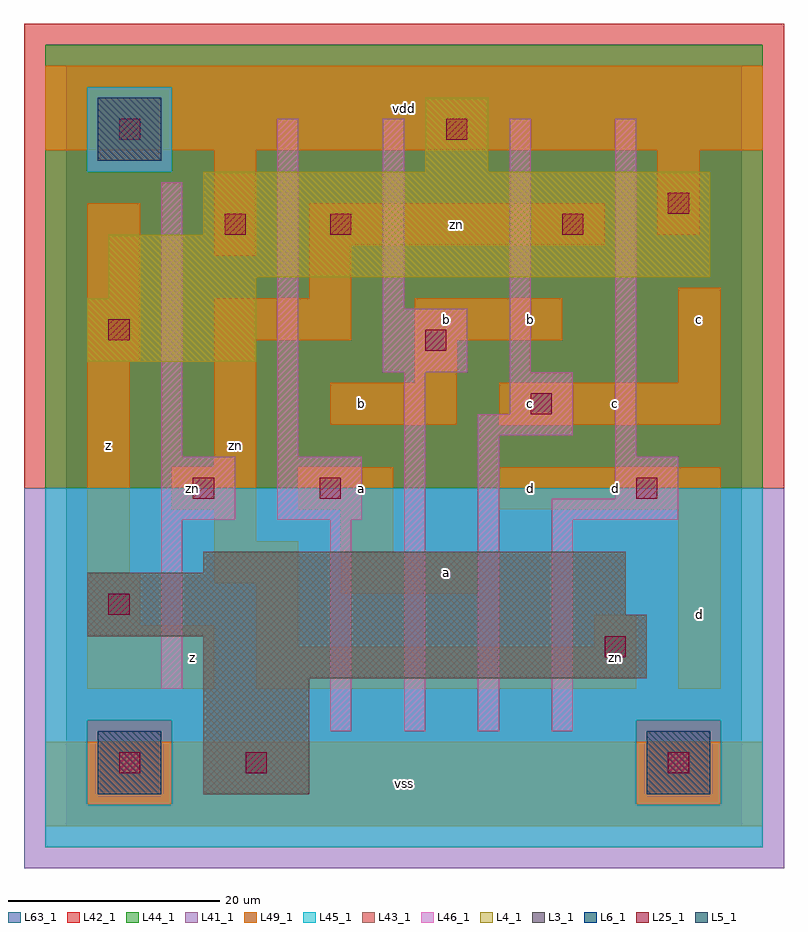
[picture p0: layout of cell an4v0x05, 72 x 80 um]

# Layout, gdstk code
import gdstk
lib = gdstk.Library(unit=1e-6, precision=1e-09)
def R(c, l, rs):  # rectangles x0, y0, x1, y1
    for r in rs: c.add(gdstk.rectangle(r[:2], r[2:], *l))
L3_1 = (3, 1)
L4_1 = (4, 1)
L5_1 = (5, 1)
L6_1 = (6, 1)
L25_1 = (25, 1)
L41_1 = (41, 1)
L42_1 = (42, 1)
L43_1 = (43, 1)
L44_1 = (44, 1)
L45_1 = (45, 1)
L46_1 = (46, 1)
L49_1 = (49, 1)
L63_1 = (63, 1)

an4v0x05 = lib.new_cell('an4v0x05')
R(an4v0x05, L3_1, [(13,3,23,14), (13,14,55,18), (2,18,55,20), (2,20,53,24), (13,24,53,26)])
R(an4v0x05, L4_1, [(2,44,18,50), (4,50,18,52), (4,52,61,56), (13,56,61,62), (34,62,40,69)])
R(an4v0x05, L5_1, [(3,63,9,69)])
R(an4v0x05, L6_1, [(3,3,9,9), (3,3,9,9), (55,3,61,9), (55,3,61,9)])
R(an4v0x05, L25_1, [(5,5,7,7), (17,5,19,7), (57,5,59,7), (51,16,53,18), (4,20,6,22), (12,31,14,33), (24,31,26,33), (54,31,56,33), (44,39,46,41), (34,45,36,47), (4,46,6,48), (15,56,17,58), (25,56,27,58), (47,56,49,58), (57,58,59,60), (5,65,7,67), (36,65,38,67)])
R(an4v0x05, L41_1, [(-4,-4,68,32)])
R(an4v0x05, L42_1, [(-4,32,68,76)])
R(an4v0x05, L43_1, [(3,3,9,9), (13,3,23,14), (55,3,61,9), (13,14,55,18), (2,18,55,20), (2,20,53,24), (13,24,53,26), (2,44,18,50), (4,50,18,52), (4,52,61,56), (13,56,61,62), (34,62,40,69), (3,63,9,69)])
R(an4v0x05, L44_1, [(2,2,10,10), (54,2,62,10), (-2,32,66,62), (-2,62,2,70), (10,62,66,70), (-2,70,66,74)])
R(an4v0x05, L45_1, [(-2,-2,66,2), (-2,2,2,10), (10,2,54,10), (62,2,66,10), (-2,10,66,32), (2,62,10,70)])
R(an4v0x05, L46_1, [(25,9,27,29), (32,9,34,43), (39,9,41,37), (46,9,48,29), (9,13,11,29), (9,29,16,35), (20,29,28,35), (46,29,58,31), (52,31,58,35), (9,35,11,61), (20,35,22,67), (52,35,54,67), (39,37,48,39), (42,39,48,43), (30,43,38,49), (42,43,44,67), (30,49,32,67)])
R(an4v0x05, L49_1, [(-2,0,66,8), (2,13,14,19), (18,13,54,17), (58,13,62,30), (18,17,22,23), (50,17,54,20), (2,19,7,24), (26,22,39,26), (14,23,22,27), (2,24,6,44), (26,26,31,30), (14,27,18,30), (10,30,18,34), (22,30,31,34), (41,30,62,34), (14,34,18,46), (25,38,37,42), (41,38,62,42), (33,42,37,46), (58,42,62,51), (2,44,7,59), (14,46,27,50), (33,46,47,50), (23,50,27,55), (14,54,18,64), (23,55,51,59), (56,56,60,64), (-2,64,66,72)])
R(an4v0x05, L63_1, [(0,0,64,72)])
an4v0x05.add(gdstk.Label('zn', (12,32), layer=49, texttype=1))
an4v0x05.add(gdstk.Label('z', (4,36), layer=49, texttype=1))
an4v0x05.add(gdstk.Label('z', (12,16), layer=49, texttype=1))
an4v0x05.add(gdstk.Label('zn', (16,36), layer=49, texttype=1))
an4v0x05.add(gdstk.Label('vss', (32,4), layer=49, texttype=1))
an4v0x05.add(gdstk.Label('a', (36,24), layer=49, texttype=1))
an4v0x05.add(gdstk.Label('a', (28,32), layer=49, texttype=1))
an4v0x05.add(gdstk.Label('b', (28,40), layer=49, texttype=1))
an4v0x05.add(gdstk.Label('b', (36,48), layer=49, texttype=1))
an4v0x05.add(gdstk.Label('vdd', (32,68), layer=49, texttype=1))
an4v0x05.add(gdstk.Label('d', (44,32), layer=49, texttype=1))
an4v0x05.add(gdstk.Label('c', (44,40), layer=49, texttype=1))
an4v0x05.add(gdstk.Label('b', (44,48), layer=49, texttype=1))
an4v0x05.add(gdstk.Label('zn', (37,57), layer=49, texttype=1))
an4v0x05.add(gdstk.Label('zn', (52,16), layer=49, texttype=1))
an4v0x05.add(gdstk.Label('d', (60,20), layer=49, texttype=1))
an4v0x05.add(gdstk.Label('d', (52,32), layer=49, texttype=1))
an4v0x05.add(gdstk.Label('c', (52,40), layer=49, texttype=1))
an4v0x05.add(gdstk.Label('c', (60,48), layer=49, texttype=1))

lib.write_gds('an4v0x05.gds')
